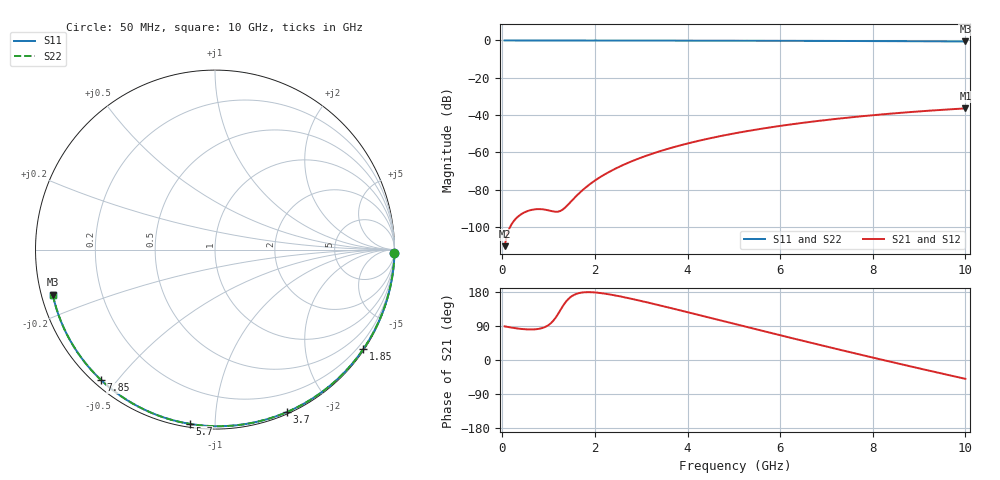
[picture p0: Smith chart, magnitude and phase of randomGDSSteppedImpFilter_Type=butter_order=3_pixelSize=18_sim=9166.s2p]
! freq	dB(S11)	phase(S11)	dB(S12)	phase(S12)
!  dB(S21)	phase(S21)	dB(S22)	phase(S22)
!S-par simulation data
#  GHz  S  DB  R 50
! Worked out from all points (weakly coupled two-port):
!   200 points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, 50 MHz to 10 GHz, reference 50 ohm
!   highest |S21| = -36.47 dB at 10 GHz (marker M1); lowest = -110.4 dB at 50 MHz (marker M2)
!   lowest |S11| = -0.6 dB at 10 GHz (marker M3), VSWR 31.38, Z = 1.62 - j6.79 ohm
!   |S11| at or under -10 dB: nowhere
!   |S22| runs from -0.6 to 0.0 dB; largest |S21 - S12| = 0
!   S11 on the Smith chart (normalised r, x): 50 MHz: open; 1.85 GHz: 0.03, -3.28; 3.7 GHz: 0.02, -1.54; 5.7 GHz: 0.02, -0.86; 7.85 GHz: 0.02, -0.45; 10 GHz: 0.03, -0.14
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0.05  -0.00 -0.9  -110.41 88.8  -110.41 88.8  -0.00 -0.9
0.45  -0.01 -8.4  -92.64 81.5  -92.64 81.5  -0.01 -8.4
0.85  -0.02 -15.8  -90.58 83.9  -90.58 83.9  -0.02 -15.8
1.3  -0.03 -24.0  -90.86 140.8  -90.86 140.8  -0.03 -24.0
1.75  -0.04 -32.1  -79.97 178.5  -79.97 178.5  -0.04 -32.1
1.85  -0.04 -33.9  -77.93 179.1  -77.93 179.1  -0.04 -33.9
2  -0.05 -36.6  -75.20 178.3  -75.20 178.3  -0.05 -36.6
2.15  -0.05 -39.3  -72.80 176.2  -72.80 176.2  -0.05 -39.3
2.5  -0.06 -45.4  -68.10 168.9  -68.10 168.9  -0.06 -45.4
2.9  -0.07 -52.4  -63.81 158.5  -63.81 158.5  -0.07 -52.4
3.4  -0.08 -61.0  -59.48 144.2  -59.48 144.2  -0.08 -61.0
3.7  -0.09 -66.0  -57.28 135.2  -57.28 135.2  -0.09 -66.0
4.35  -0.11 -76.8  -53.23 115.5  -53.23 115.5  -0.11 -76.8
5.05  -0.14 -88.1  -49.70 94.2  -49.70 94.2  -0.14 -88.1
5.7  -0.16 -98.3  -46.98 74.4  -46.98 74.4  -0.16 -98.3
6.2  -0.19 -106.0  -45.17 59.3  -45.17 59.3  -0.19 -106.0
6.7  -0.22 -113.7  -43.56 44.4  -43.56 44.4  -0.22 -113.7
7.25  -0.26 -122.0  -41.98 28.2  -41.98 28.2  -0.26 -122.0
7.85  -0.31 -131.1  -40.47 10.7  -40.47 10.7  -0.31 -131.0
8.35  -0.36 -138.6  -39.36 -3.7  -39.36 -3.7  -0.36 -138.6
9.2  -0.45 -151.7  -37.73 -27.7  -37.73 -27.7  -0.45 -151.7
10  -0.55 -164.5  -36.47 -49.7  -36.47 -49.7  -0.55 -164.5
